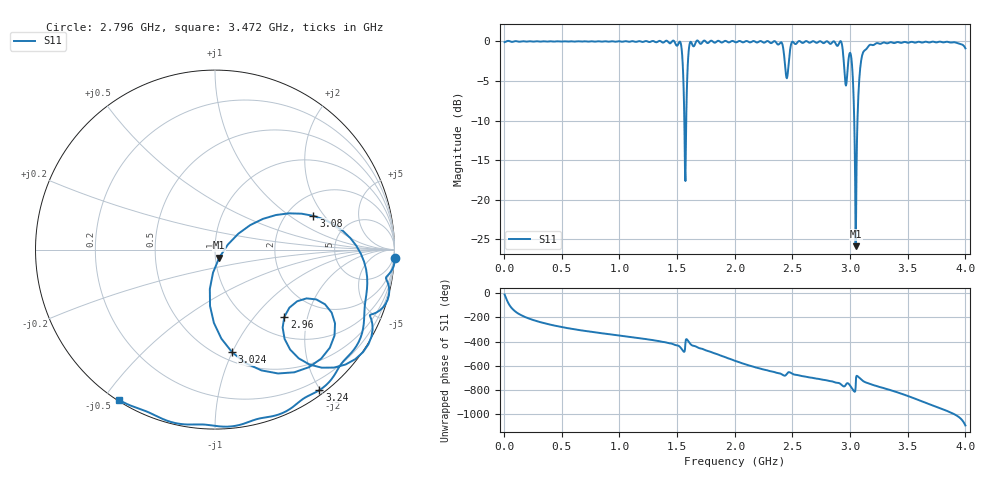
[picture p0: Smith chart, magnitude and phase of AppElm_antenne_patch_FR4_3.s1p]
! TOUCHSTONE file generated by CST MICROWAVE STUDIO
! Date and time: Tue Jun  7 21:31:15 2022
! Project name: AppElm_antenne_patch_FR4.cst
! Parameters = {L=45; W=58.5; e=0.035; h=1.6; lambda=0.190476; ls=120; w0=1.36; w1=0.533; ws=120; y0=20; y1=23.81}
! Header version: 2018
! Port assignment regex: !\s*Touchstone port\s*([0-9]+)\s*=\s*(CST MWS port|CST DS port)\s*([0-9]+|Zmin|Zmax)\s*\(\"(.*)\"\)(\s*mode\s*([0-9]+))?.*
! Touchstone port assignment:
! Touchstone port 1 = CST MWS port 1 ("")
# GHz S MA R 50
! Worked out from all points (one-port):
!   1000 points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, 4 MHz to 4 GHz, reference 50 ohm
!   lowest |S11| = -25.9 dB at 3.048 GHz (marker M1), VSWR 1.11, Z = 52.2 - j4.71 ohm
!   |S11| at or under -10 dB: 1.562 GHz to 1.579 GHz (16.68 MHz wide, 1.06 % of centre); 3.036 GHz to 3.064 GHz (27.99 MHz wide, 0.918 % of centre)
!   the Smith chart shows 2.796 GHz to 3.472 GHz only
!   S11 on the Smith chart (normalised r, x): 2.796 GHz: -2, -41; 2.96 GHz: 1.38, -1.45; 3.024 GHz: 0.58, -1.00; 3.08 GHz: 2.77, +1.57; 3.24 GHz: 0.06, -1.99; 3.472 GHz: 0.00, -0.55
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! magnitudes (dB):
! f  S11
! 4 MHz  -0.1
! 504 MHz  0.0
! 1.004 GHz  0.0
! 1.504 GHz  -0.5
! 1.536 GHz  -0.6
! 1.556 GHz  -5.7
! 1.572 GHz  -17.7
! 1.584 GHz  -6.4
! 1.604 GHz  -0.7
! 1.62 GHz  -0.1
! 2.004 GHz  -0.1
! 2.396 GHz  -0.1
! 2.452 GHz  -4.7
! 2.504 GHz  0.0
! 2.796 GHz  0.0
! 2.916 GHz  0.0
! 2.96 GHz  -5.4
! 3.004 GHz  -1.5
! 3.024 GHz  -4.7
! 3.036 GHz  -10.0
! 3.048 GHz  -25.9
! 3.064 GHz  -10.0
! 3.08 GHz  -4.7
! 3.116 GHz  -1.3
! 3.24 GHz  -0.2
! 3.472 GHz  -0.1
! 3.504 GHz  -0.2
! 4 GHz  -0.9
